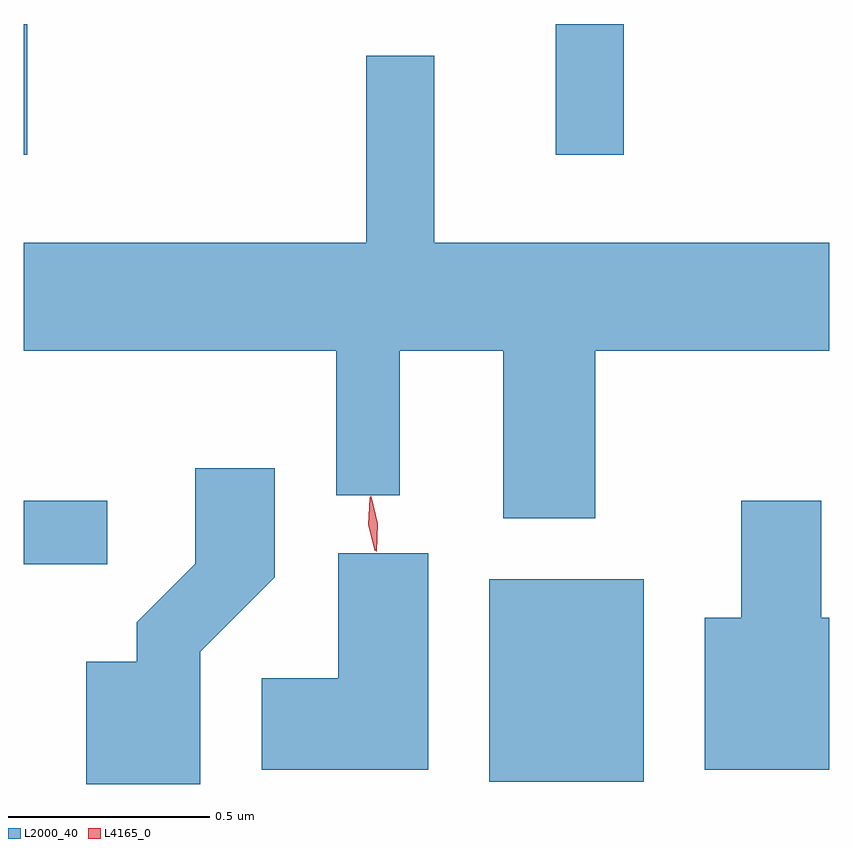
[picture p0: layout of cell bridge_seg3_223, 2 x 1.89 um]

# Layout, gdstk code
import gdstk
lib = gdstk.Library(unit=1e-6, precision=1e-09)
def R(c, l, rs):  # rectangles x0, y0, x1, y1
    for r in rs: c.add(gdstk.rectangle(r[:2], r[2:], *l))
def P(c, l, *ps):  # polygons
    for p in ps: c.add(gdstk.Polygon(p, *l))
L2000_40 = (2000, 40)
L4165_0 = (4165, 0)

bridge_seg3_223 = lib.new_cell('bridge_seg3_223')
R(bridge_seg3_223, L2000_40, [(956.766,1156.026,957.149,1156.529), (955.61,1156.566,955.818,1156.724), (955.61,1157.583,955.619,1157.907), (956.931,1157.583,957.099,1157.907)])
P(bridge_seg3_223, L2000_40, [(957.029,1157.096),(957.61,1157.096),(957.61,1157.364),(956.629,1157.364),(956.629,1157.828),(956.461,1157.828),(956.461,1157.364),(955.61,1157.364),(955.61,1157.096),(956.386,1157.096),(956.386,1156.738),(956.544,1156.738),(956.544,1157.096),(956.801,1157.096),(956.801,1156.681),(957.029,1156.681)],
  [(956.049,1156.349),(956.234,1156.534),(956.234,1156.804),(956.036,1156.804),(956.036,1156.567),(955.891,1156.422),(955.891,1156.324),(955.766,1156.324),(955.766,1156.021),(956.049,1156.021)],
  [(957.61,1156.434),(957.589,1156.434),(957.589,1156.724),(957.391,1156.724),(957.391,1156.434),(957.301,1156.434),(957.301,1156.056),(957.61,1156.056)],
  [(956.614,1156.594),(956.391,1156.594),(956.391,1156.284),(956.201,1156.284),(956.201,1156.056),(956.614,1156.056)])
P(bridge_seg3_223, L4165_0, [(956.482,1156.6),(956.466,1156.664),(956.469,1156.731),(956.47,1156.732),(956.47,1156.731),(956.486,1156.666),(956.483,1156.6),(956.483,1156.6)],
  [(956.486,1156.597),(956.485,1156.598),(956.469,1156.665),(956.472,1156.735),(956.472,1156.735),(956.473,1156.735),(956.489,1156.667),(956.486,1156.598)])

lib.write_gds('bridge_seg3_223.gds')
